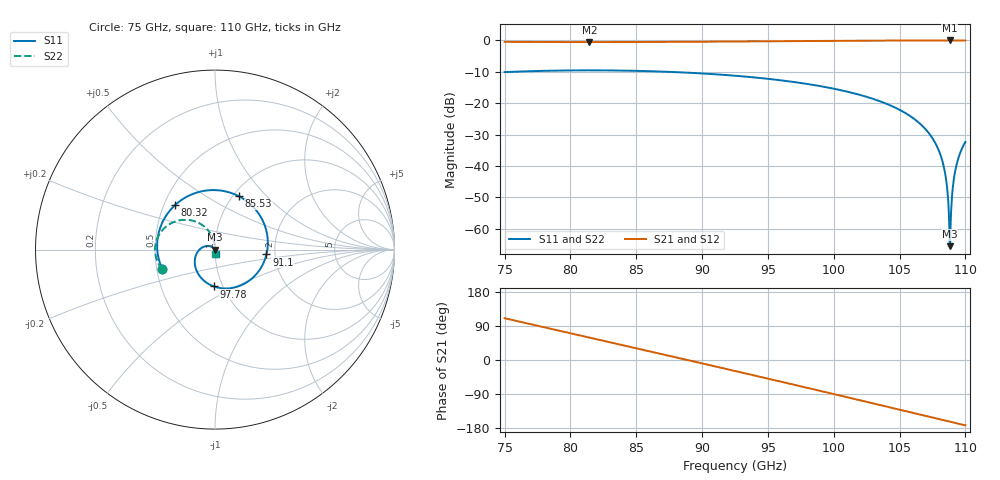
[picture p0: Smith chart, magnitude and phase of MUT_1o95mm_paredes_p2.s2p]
! TOUCHSTONE file generated by CST MICROWAVE STUDIO
! Date and time: Tue Feb 13 14:04:42 2024
! Project name: material_pared.cst
! Header version: 2018
! Port assignment regex: !\s*Touchstone port\s*([0-9]+)\s*=\s*(CST MWS port|CST DS port)\s*([0-9]+|Zmin|Zmax)\s*\(\"(.*)\"\)(\s*mode\s*([0-9]+))?.*
! Touchstone port assignment:
! Touchstone port 1 = CST MWS port 1 ("")
! Touchstone port 2 = CST MWS port 2 ("")
# GHz S MA R 376.7
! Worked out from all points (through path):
!   1001 points, 75 GHz to 110 GHz, reference 376.7 ohm
!   highest |S21| = 0.00 dB at 108.8 GHz (marker M1); lowest = -0.5 dB at 81.44 GHz (marker M2)
!   group delay of S21, straight-line fit = 22.4 ps
!   lowest |S11| = -65.6 dB at 108.8 GHz (marker M3), VSWR 1.00, Z = 376 + j0.034 ohm
!   |S11| at or under -10 dB: start of sweep to 75.56 GHz; 87.42 GHz to end of sweep
!   |S22| runs from -69.2 to -9.5 dB; largest |S21 - S12| = 0
!   S11 on the Smith chart (normalised r, x): 75 GHz: 0.54, -0.13; 80.32 GHz: 0.57, +0.32; 85.53 GHz: 1.07, +0.71; 91.1 GHz: 1.80, -0.11; 97.78 GHz: 0.91, -0.39; 110 GHz: 1.01, -0.05
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75  0.3127 -160.1  0.9498 110.2  0.9498 110.2  0.3127 -159.4
80.32  0.3332 132.1  0.9429 68.0  0.9429 68.0  0.3332 -176.1
80.845  0.3337 125.4  0.9427 63.8  0.9427 63.8  0.3337 -177.7
81.44  0.3339 117.8  0.9426 59.1  0.9426 59.1  0.3339 -179.6
85.535  0.3256 65.7  0.9455 26.7  0.9455 26.7  0.3256 167.6
86.69  0.3203 51.0  0.9473 17.5  0.9473 17.5  0.3203 164.0
91.1  0.288 -5.4  0.9576 -17.7  0.9576 -17.7  0.288 150.0
92.5  0.274 -23.4  0.9617 -28.9  0.9617 -28.9  0.274 145.5
97.785  0.2055 -91.6  0.9787 -71.7  0.9787 -71.7  0.2055 128.1
98.345  0.1968 -98.9  0.9804 -76.3  0.9804 -76.3  0.1969 126.3
101.25  0.1486 -136.6  0.9889 -100.1  0.9889 -100.1  0.1486 116.4
104.19  0.09424 -174.9  0.9956 -124.3  0.9956 -124.3  0.09415 106.2
106.325  0.05174 157.4  0.9987 -142.0  0.9987 -142.0  0.05173 98.6
107.69  0.02362 140.0  0.9997 -153.3  0.9997 -153.3  0.02374 93.4
108.39  0.009072 132.5  1 -159.2  1 -159.2  0.009243 90.0
108.565  0.005439 131.9  1 -160.6  1 -160.6  0.005612 88.3
108.705  0.002546 134.9  1 -161.8  1 -161.8  0.002711 84.8
108.81  0.0005242 175.1  1 -162.6  1 -162.6  0.0005846 62.1
108.95  0.002605 -66.4  1 -163.8  1 -163.8  0.00241 -83.6
109.125  0.006212 -63.4  1 -165.3  1 -165.3  0.006036 -88.2
109.3  0.009826 -64.3  1 -166.7  1 -166.7  0.009669 -89.7
110  0.02418 -72.0  0.9997 -172.5  0.9997 -172.5  0.02418 -93.0
